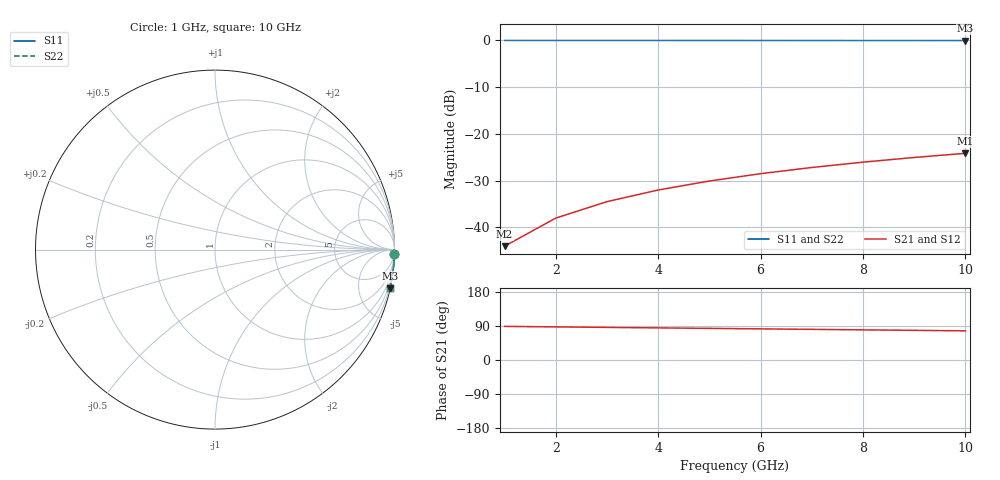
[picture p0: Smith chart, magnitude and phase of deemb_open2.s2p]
! Created Mon Sep 20 20:53:08 2021
# hz S ma R 50
! 2 Port Network Data from SP1.SP block
! freq  magS11  angS11  magS21  angS21  magS12  angS12  magS22  angS22
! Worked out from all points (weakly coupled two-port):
!   10 points, 1 GHz to 10 GHz, reference 50 ohm
!   highest |S21| = -24.16 dB at 10 GHz (marker M1); lowest = -44.0 dB at 1 GHz (marker M2)
!   lowest |S11| = 0.0 dB at 10 GHz (marker M3), VSWR 676.66, Z = 6.2 - j455 ohm
!   |S11| at or under -10 dB: nowhere
!   |S22| runs from 0.0 to 0.0 dB; largest |S21 - S12| = 0
1e9  1 -1.3  0.006282 88.7  0.006282 88.7  1 -1.3
2e9  0.9999 -2.5  0.01256 87.4  0.01256 87.4  0.9999 -2.5
3e9  0.9997 -3.8  0.01883 86.1  0.01883 86.1  0.9997 -3.8
4e9  0.9995 -5.0  0.02508 84.8  0.02508 84.8  0.9995 -5.0
5e9  0.9992 -6.3  0.03131 83.5  0.03131 83.5  0.9992 -6.3
6e9  0.9989 -7.5  0.03751 82.2  0.03751 82.2  0.9989 -7.5
7e9  0.9985 -8.8  0.04368 80.9  0.04368 80.9  0.9985 -8.8
8e9  0.9981 -10.0  0.04982 79.6  0.04982 79.6  0.9981 -10.0
9e9  0.9976 -11.3  0.05591 78.3  0.05591 78.3  0.9976 -11.3
1e10  0.997 -12.5  0.06196 77.0  0.06196 77.0  0.997 -12.5
